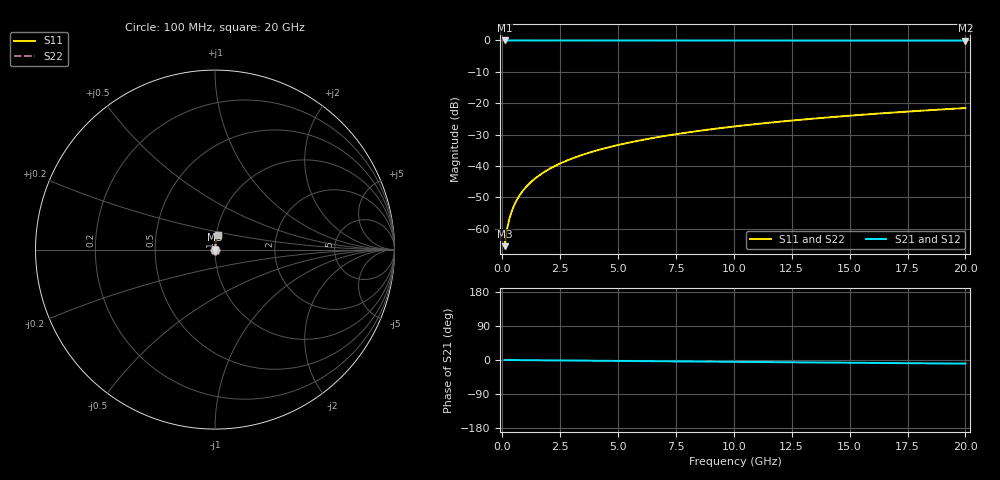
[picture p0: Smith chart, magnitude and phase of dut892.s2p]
! Touchstone file exported from HFSS 2026.1.0
!  File:  C:/ffzhzh/LocalFiles/Ansys_Project_Files/temp_train_TSV_892_1783185964_51560.aedt
!  Generated:  01:27:45 AM Jul  5, 2026
!  Design:  TSV
!  Project:  temp_train_TSV_892_1783185964_51560
! Variables:
!  h_bsmrdl = 2um
!  h_ox = 20um
!  h_rdl = 5um
!  h_sub = 77.12um
!  h_tmrdl = 5um
!  h_tsv = 77.12um
!  h_via = 3um
!  l_bsmrdl = 300um
!  l_sub = 412.76um
!  l_tmrdl = 200um
!  m_sub = 200um
!  pitch = 56.71um
!  r_tsv = 6.38um
!  s_tmrdl = 10um
!  w_bsmrdl = 18um
!  w_sub = 500um
!  w_tmrdl = 12um
!  x_tsv_center1 = 206um
!  x_tsv_center2 = 524um
!  x_tsv_center3 = 736um
!  x_tsv_center4 = 1054um
!  x_tsv_center5 = 1266um
!  x_tsv_center6 = 1584um
# GHz S MA R 50.000000
! Terminal data exported
! Port[1] = TSV1_1_T1
! Port[2] = TSV1_1_T2
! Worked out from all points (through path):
!   200 points, 100 MHz to 20 GHz, reference 50 ohm
!   highest |S21| = 0.00 dB at 100 MHz (marker M1); lowest = 0.0 dB at 20 GHz (marker M2)
!   group delay of S21, straight-line fit = 1.33 ps
!   lowest |S11| = -65.6 dB at 100 MHz (marker M3), VSWR 1.00, Z = 50 + j0.0462 ohm
!   |S11| at or under -10 dB: start of sweep to end of sweep
!   |S22| runs from -65.6 to -21.6 dB; largest |S21 - S12| = 1.4e-15
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0.1  0.0005249 61.5  0.9998 -0.1  0.9998 -0.1  0.0005249 61.5
! Gamma 0 0 0 0
! Port Impedance 50 0 50 0
0.2  0.0009572 74.3  0.9997 -0.1  0.9997 -0.1  0.0009572 74.3
0.3  0.001405 78.7  0.9997 -0.2  0.9997 -0.2  0.001405 78.7
0.4  0.001855 80.9  0.9997 -0.2  0.9997 -0.2  0.001855 80.9
0.5  0.002302 82.1  0.9997 -0.3  0.9997 -0.3  0.002302 82.1
0.6  0.002747 82.9  0.9997 -0.3  0.9997 -0.3  0.002747 82.9
0.7  0.003188 83.4  0.9996 -0.3  0.9996 -0.3  0.003188 83.4
0.8  0.003627 83.8  0.9996 -0.4  0.9996 -0.4  0.003627 83.8
1  0.004497 84.3  0.9996 -0.5  0.9996 -0.5  0.004497 84.3
1.4  0.006221 85.0  0.9995 -0.7  0.9995 -0.7  0.006221 85.0
1.7  0.007508 85.3  0.9995 -0.8  0.9995 -0.8  0.007508 85.3
2  0.008791 85.5  0.9994 -1.0  0.9994 -1.0  0.008791 85.5
2.7  0.01178 85.7  0.9993 -1.3  0.9993 -1.3  0.01178 85.7
3.5  0.01518 85.7  0.9992 -1.7  0.9992 -1.7  0.01518 85.7
4.2  0.01815 85.5  0.9991 -2.0  0.9991 -2.0  0.01815 85.5
5  0.02153 85.3  0.9989 -2.4  0.9989 -2.4  0.02153 85.3
6.8  0.02909 84.8  0.9986 -3.3  0.9986 -3.3  0.02909 84.8
8.3  0.03536 84.2  0.9983 -4.0  0.9983 -4.0  0.03536 84.2
10.1  0.04287 83.5  0.9979 -4.9  0.9979 -4.9  0.04287 83.5
13.4  0.05655 82.2  0.997 -6.4  0.997 -6.4  0.05655 82.2
16.7  0.07014 80.7  0.996 -8.0  0.996 -8.0  0.07014 80.7
20  0.0836 79.3  0.9948 -9.6  0.9948 -9.6  0.0836 79.3
